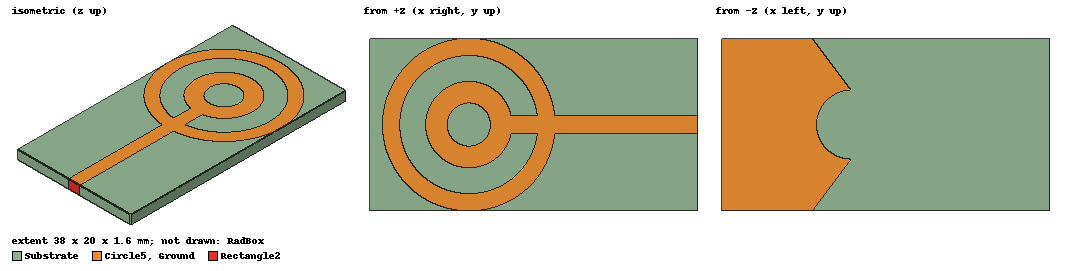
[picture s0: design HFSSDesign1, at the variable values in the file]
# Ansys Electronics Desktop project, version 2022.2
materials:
  vacuum: permittivity=1
  FR4_epoxy: permittivity=4.4 dielectric_loss_tangent=0.02
  air: permittivity=1.0006 permeability=1.0000004

design HFSSDesign1 (HFSS, DrivenModal, model units mm)
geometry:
  Substrate [FR4_epoxy] = box(corner=(-18mm, -10mm, -0.8mm), size=(38mm, 20mm, 1.6mm))
  Patch = rectangle(corner=(-4mm, -1mm, 0.8mm), x_size=24mm, y_size=2mm)
  Rectangle2 = rectangle(corner=(20mm, -1mm, -0.8mm), y_size=2mm, z_size=1.6mm)
  Ground = rectangle(corner=(5mm, -10mm, -0.8mm), x_size=15mm, y_size=20mm)
  Circle3 = circle(normal=Z, centre=(-6.5mm, 0mm, 0.8mm), radius=5mm)
  Circle4 = circle(normal=Z, centre=(-6.5mm, 0mm, 0.8mm), radius=2.5mm)
  Circle3.subtract(Circle4)
  Patch.unite(Circle3)
  Circle5 = circle(normal=Z, centre=(-6.5mm, 0mm, 0.8mm), radius=10mm)
  Circle6 = circle(normal=Z, centre=(-6.5mm, 0mm, 0.8mm), radius=8mm)
  Circle5.subtract(Circle6)
  Circle5.unite(Patch)
  Circle7 = circle(normal=Z, centre=(5mm, 0mm, -0.8mm), radius=4mm)
  Polyline2 = polyline(z=-0.8mm, xy in mm: (5, 10) (9.5, 10) (5, 4) (5, 10), closed, covered)
  Ground.subtract(Circle7)
  Polyline3 = polyline(z=-0.8mm, xy in mm: (5, -10) (9.5, -10) (5, -4) (5, -10), closed, covered)
  Ground.subtract(Polyline2, Polyline3)
  RadBox [air] = box(corner=(-37.5mm, -27.5mm, -17.5mm), size=(75mm, 55mm, 35mm))
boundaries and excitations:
  PerfE1: Perfect E Objects=[Circle5, Ground]
  Rad1: Radiation Objects=RadBox
  1: Lumped Port Objects=Rectangle2 Modes{Mode1{IntLine{(20, 0, -0.8) -> (20, 0, 0.8)} CharImp=Zpi RenormImp=50ohm}} Impedance=50ohm
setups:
  Setup1: HfssDriven MultipleAdaptiveFreqsSetup{Low=2GHz High=9GHz} MaxDeltaS=0.02 MaximumPasses=6 MinimumPasses=1 MinimumConvergedPasses=1 PercentRefinement=30 BasisOrder=1 PortAccuracy=2 DrivenSolverType="Direct Solver"
    sweep Sweep: 2GHz to 9GHz, 100 points; Type=Interpolating SaveFields SaveRadFields InterpTolerance=0.5 InterpMaxSolns=250 InterpUsePortImped=false PassivityErrorTolerance=0.0001
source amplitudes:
  1:1: 1W 0deg
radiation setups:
  Infinite Sphere1: Infinite Sphere Theta=-180deg..180deg step 10deg Phi=0deg..360deg step 10deg
  Infinite Sphere2: Infinite Sphere Theta=0..360deg step 3deg Phi=0deg..90deg step 90deg
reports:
  S Parameter Plot 1: dB(S(1,1)) vs Freq on Setup1 : Sweep; markers m1 at 3.1313131GHz, m2 at 5.7171717GHz, MY1 at y=-10
  Gain Plot 1: dB(GainTotal) vs Freq on Setup1 : Sweep, Infinite Sphere1 [Phi=0deg Theta=0deg]; markers m1 at 5.9375GHz, MY1 at y=2.61364
  Gain Plot 2: dB(GainTotal) vs Theta on Setup1 : Sweep, Infinite Sphere2 [Phi=all Freq=5.5GHz]
